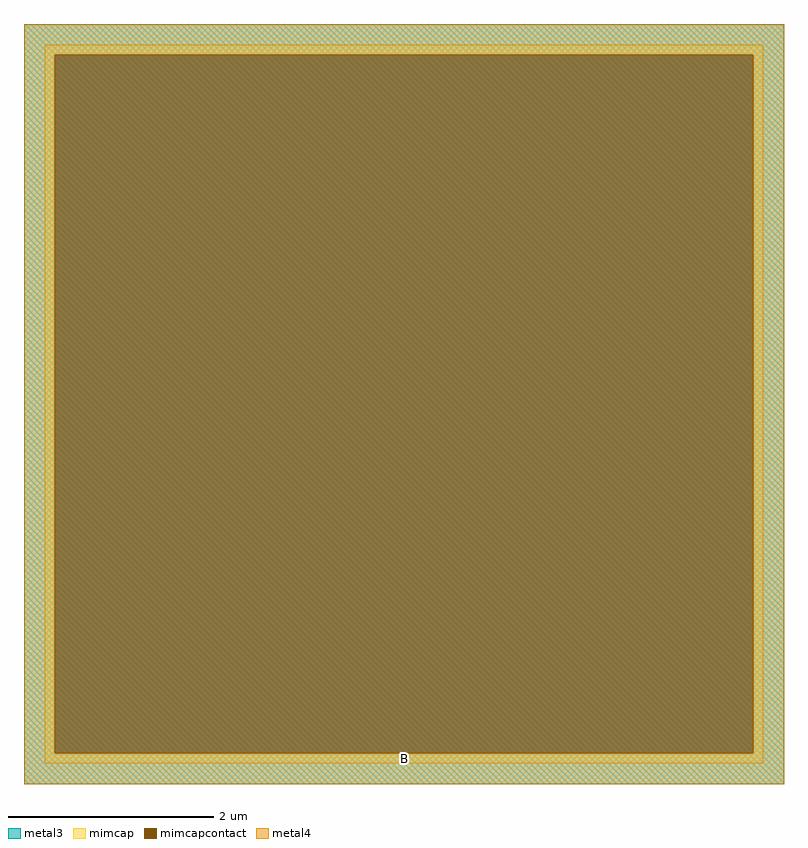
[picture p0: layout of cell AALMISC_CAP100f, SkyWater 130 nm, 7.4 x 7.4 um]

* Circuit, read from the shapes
.subckt AALMISC_CAP100f A B
XC1 B A sky130_fd_pr__cap_mim_m3_1 w=7 l=7
.ends

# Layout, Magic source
magic
tech sky130A
<< metal3 >>
rect 0 0 740 740
<< mimcap >>
rect 20 710 720 720
rect 20 30 30 710
rect 710 30 720 710
rect 20 20 720 30
<< mimcapcontact >>
rect 30 30 710 710
<< metal4 >>
rect 0 710 740 740
rect 0 30 30 710
rect 710 30 740 710
rect 0 0 740 30
<< labels >>
flabel metal4 s 0 0 740 50 0 FreeSans 400 0 0 0 B
port 2 nsew signal bidirectional
flabel metal3 s 0 0 740 50 0 FreeSans 400 0 0 0 A
port 1 nsew signal bidirectional
<< properties >>
string FIXED_BBOX 0 0 740 740
<< end >>
